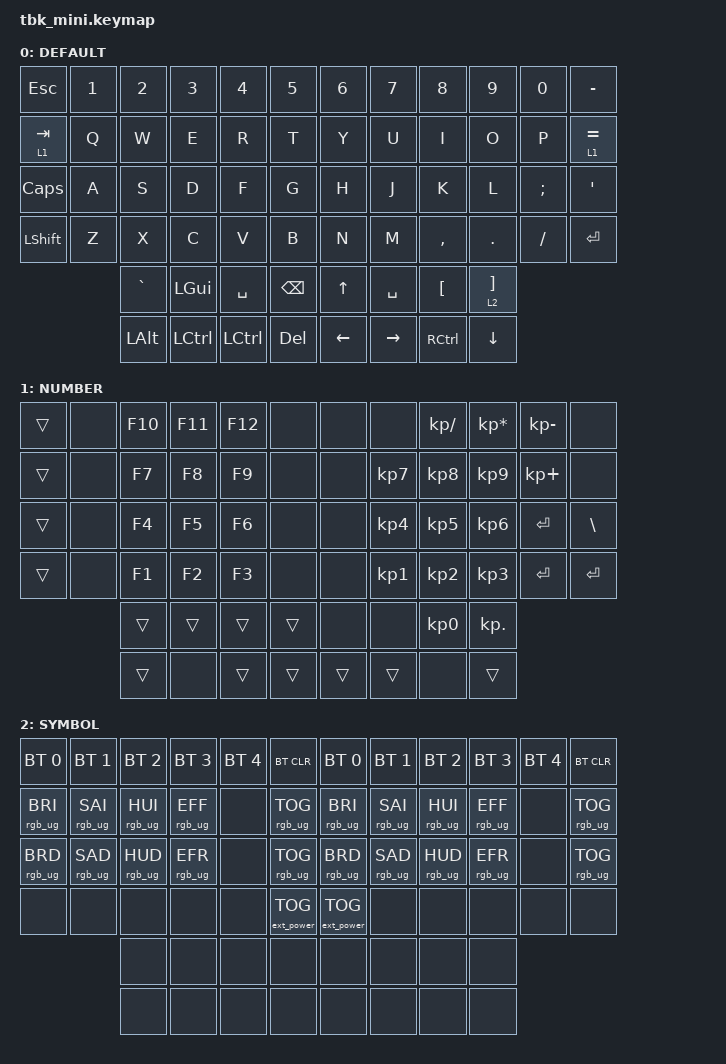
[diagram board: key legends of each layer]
/*
 * Copyright (c) 2020 The ZMK Contributors
 *
 * SPDX-License-Identifier: MIT
 */

#include <behaviors.dtsi>
#include <dt-bindings/zmk/bt.h>
#include <dt-bindings/zmk/ext_power.h>
#include <dt-bindings/zmk/keys.h>
#include <dt-bindings/zmk/rgb.h>

#define DEFAULT 0
#define NUMBER  1
#define SYMBOL  2
#define HOTKEY  3
#define SETTING 4

#define AS(keycode) &as LS(keycode) keycode

/ {
    behaviors {
        td0: tap_dance_0 {
            compatible = "zmk,behavior-tap-dance";
            label = "TAP_DANCE_0";
            #binding-cells = <0>;
            tapping-term-ms = <200>;
            bindings =
                <&mo 0>,
                <&to 0>,
                <&to 0>;
        };
    };

    behaviors {
        as: auto_shift {
            compatible = "zmk,behavior-hold-tap";
            label = "AUTO_SHIFT";
            #binding-cells = <2>;
            tapping-term-ms = <160>;
            quick-tap-ms = <0>;
            flavor = "tap-preferred";
            bindings =
                <&kp>,
                <&kp>;
        };
        modcp: mod_copy {
            compatible = "zmk,behavior-mod-morph";
            label = "MOD_COPY";
            #binding-cells = <0>;
            bindings =
                <&as LS(C) C>,
                <&kp C>;

            mods = <(LGUI | RGUI)>;
        };
    };

    macros {
        macro_phone: macro_phone {
            // 1351

            label = "MACRO_PHONE";
            compatible = "zmk,behavior-macro";
            #binding-cells = <0>;
            bindings = <&kp N1 &kp N3 &kp N5 &kp N1>;
        };
        macro_email_g: macro_email_g {
            // 135115

            compatible = "zmk,behavior-macro";
            label = "MACRO_EMAIL_GMAIL";
            #binding-cells = <0>;
            bindings = <&kp N1 &kp N3 &kp N5 &kp N1 &kp N1 &kp N5>;
        };
    };

    combos {
        compatible = "zmk,combos";

        combo_esc {
            timeout-ms = <50>;
            key-positions = <14 15>;
            bindings = <&kp ESC>;
        };

        combo_LSHFT {
            timeout-ms = <50>;
            key-positions = <26 27>;
            bindings = <&kp  LSHFT>;
        };

        combo_LGUI {
            timeout-ms = <50>;
            key-positions = <38 39>;
            bindings = <&kp LGUI>;
        };
    };

    keymap {
        compatible = "zmk,keymap";

        default_layer {
            label = "DEFAULT";
            bindings = <
&kp ESC    &kp N1  &kp N2     &kp N3     &kp N4     &kp N5    &kp N6    &kp N7     &kp N8     &kp N9      &kp N0    &kp MINUS
&lt 1 TAB  &kp Q   &kp W      &kp E      &kp R      &kp T     &kp Y     &kp U      &kp I      &kp O       &kp P     &lt 1 EQUAL
&kp CAPS   &kp A   &kp S      &kp D      &kp F      &kp G     &kp H     &kp J      &kp K      &kp L       &kp SEMI  &kp SQT
&kp LSHFT  &kp Z   &kp X      &kp C      &kp V      &kp B     &kp N     &kp M      &kp COMMA  &kp DOT     &kp FSLH  &kp ENTER
                   &kp GRAVE  &kp LGUI   &kp SPACE  &kp BSPC  &kp UP    &kp SPACE  &kp LBKT   &lt 2 RBKT
                   &kp LALT   &kp LCTRL  &kp LCTRL  &kp DEL   &kp LEFT  &kp RIGHT  &kp RCTRL  &kp DOWN
            >;
        };

        number_layer {
            label = "NUMBER";
            bindings = <
&trans  &none  &kp F10  &kp F11  &kp F12  &none   &none   &none      &kp KP_SLASH  &kp KP_MULTIPLY  &kp KP_MINUS  &none
&trans  &none  &kp F7   &kp F8   &kp F9   &none   &none   &kp KP_N7  &kp KP_N8     &kp KP_N9        &kp KP_PLUS   &none
&trans  &none  &kp F4   &kp F5   &kp F6   &none   &none   &kp KP_N4  &kp KP_N5     &kp KP_N6        &kp ENTER     &kp BSLH
&trans  &none  &kp F1   &kp F2   &kp F3   &none   &none   &kp KP_N1  &kp KP_N2     &kp KP_N3        &kp ENTER     &kp ENTER
               &trans   &trans   &trans   &trans  &none   &none      &kp KP_N0     &kp KP_DOT
               &trans   &none    &trans   &trans  &trans  &trans     &none         &trans
            >;
        };

        symbol_layer {
            label = "SYMBOL";
            bindings = <
&bt BT_SEL 0     &bt BT_SEL 1     &bt BT_SEL 2     &bt BT_SEL 3     &bt BT_SEL 4  &bt BT_CLR         &bt BT_SEL 0       &bt BT_SEL 1     &bt BT_SEL 2     &bt BT_SEL 3     &bt BT_SEL 4  &bt BT_CLR
&rgb_ug RGB_BRI  &rgb_ug RGB_SAI  &rgb_ug RGB_HUI  &rgb_ug RGB_EFF  &none         &rgb_ug RGB_TOG    &rgb_ug RGB_BRI    &rgb_ug RGB_SAI  &rgb_ug RGB_HUI  &rgb_ug RGB_EFF  &none         &rgb_ug RGB_TOG
&rgb_ug RGB_BRD  &rgb_ug RGB_SAD  &rgb_ug RGB_HUD  &rgb_ug RGB_EFR  &none         &rgb_ug RGB_TOG    &rgb_ug RGB_BRD    &rgb_ug RGB_SAD  &rgb_ug RGB_HUD  &rgb_ug RGB_EFR  &none         &rgb_ug RGB_TOG
&none            &none            &none            &none            &none         &ext_power EP_TOG  &ext_power EP_TOG  &none            &none            &none            &none         &none
                                  &none            &none            &none         &none              &none              &none            &none            &none
                                  &none            &none            &none         &none              &none              &none            &none            &none
            >;
        };
    };
};
